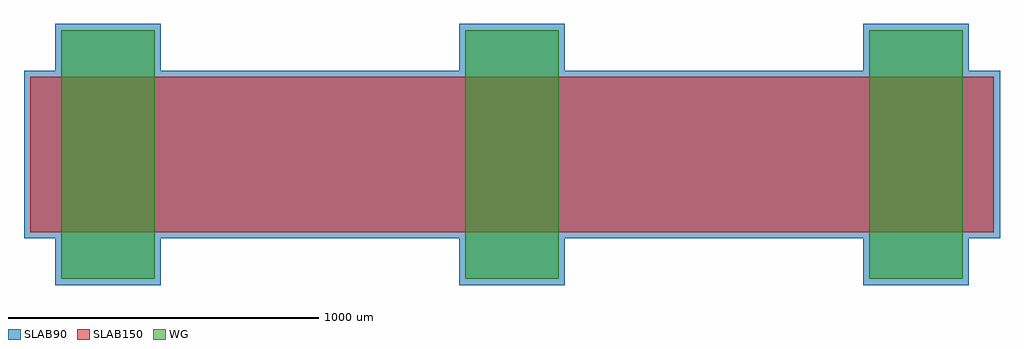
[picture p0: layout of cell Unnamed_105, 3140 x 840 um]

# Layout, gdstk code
import gdstk
lib = gdstk.Library(unit=1e-6, precision=1e-09)
def R(c, l, rs):  # rectangles x0, y0, x1, y1
    for r in rs: c.add(gdstk.rectangle(r[:2], r[2:], *l))
def A(c, l, x, y, w, h, nx, ny, dx, dy):  # array of equal rectangles
    R(c, l, [(x+i*dx, y+j*dy, x+i*dx+w, y+j*dy+h) for i in range(nx) for j in range(ny)])
WG = (1, 0)
SLAB150 = (2, 0)
SLAB90 = (3, 0)

rectangle_gdsfactorypco_ = lib.new_cell('rectangle_gdsfactorypco_d7a62ac7')
R(rectangle_gdsfactorypco_, SLAB150, [(0,0,3100,500)])

c_rectangle_gdsfactorypco_ = lib.new_cell('rectangle_gdsfactorypco_f723c1cb')
R(c_rectangle_gdsfactorypco_, WG, [(0,0,300,800)])

unnamed_105 = lib.new_cell('Unnamed_105')
A(unnamed_105, SLAB90, -20, -20, 340, 840, 3, 1, 1300, 0)
R(unnamed_105, SLAB90, [(-120,130,3020,670)])
unnamed_105.add(gdstk.Reference(rectangle_gdsfactorypco_, (-100,150)))
unnamed_105.add(gdstk.Reference(c_rectangle_gdsfactorypco_, (0,0)))
unnamed_105.add(gdstk.Reference(c_rectangle_gdsfactorypco_, (1300,0)))
unnamed_105.add(gdstk.Reference(c_rectangle_gdsfactorypco_, (2600,0)))

lib.write_gds('Unnamed_105.gds')
